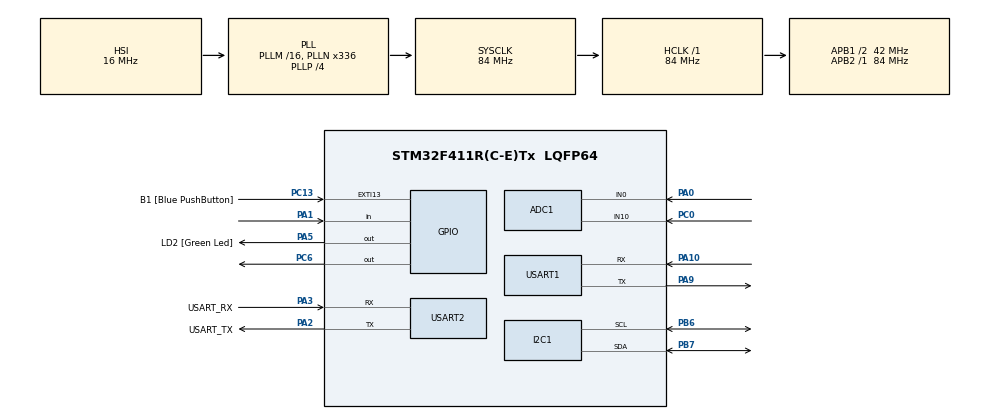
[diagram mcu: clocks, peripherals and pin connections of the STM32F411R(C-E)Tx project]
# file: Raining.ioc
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ADC1.Channel-0\#ChannelRegularConversion=ADC_CHANNEL_0
ADC1.Channel-1\#ChannelRegularConversion=ADC_CHANNEL_10
ADC1.ContinuousConvMode=ENABLE
ADC1.DMAContinuousRequests=ENABLE
ADC1.NbrOfConversion=2
ADC1.NbrOfConversionFlag=1
ADC1.Rank-0\#ChannelRegularConversion=1
ADC1.Rank-1\#ChannelRegularConversion=2
ADC1.SamplingTime-0\#ChannelRegularConversion=ADC_SAMPLETIME_3CYCLES
ADC1.SamplingTime-1\#ChannelRegularConversion=ADC_SAMPLETIME_3CYCLES
ADC1.ScanConvMode=ENABLE
ADC1.master=1
Dma.ADC1.0.Direction=DMA_PERIPH_TO_MEMORY
Dma.ADC1.0.FIFOMode=DMA_FIFOMODE_DISABLE
Dma.ADC1.0.Instance=DMA2_Stream0
Dma.ADC1.0.MemDataAlignment=DMA_MDATAALIGN_WORD
Dma.ADC1.0.MemInc=DMA_MINC_ENABLE
Dma.ADC1.0.Mode=DMA_CIRCULAR
Dma.ADC1.0.PeriphDataAlignment=DMA_PDATAALIGN_WORD
Dma.ADC1.0.PeriphInc=DMA_PINC_DISABLE
Dma.ADC1.0.Priority=DMA_PRIORITY_LOW
Dma.Request0=ADC1
Mcu.Family=STM32F4
Mcu.Name=STM32F411R(C-E)Tx
Mcu.Package=LQFP64
NVIC.DMA2_Stream0_IRQn=true\:0\:0\:false\:false\:true\:false\:true\:true
NVIC.PriorityGroup=NVIC_PRIORITYGROUP_0
PA0-WKUP.Signal=ADCx_IN0
PA1.Signal=GPIO_Input
PA10.Mode=Asynchronous
PA10.Signal=USART1_RX
PA13.GPIO_Label=TMS
PA13.Mode=Serial_Wire
PA13.Signal=SYS_JTMS-SWDIO
PA14.GPIO_Label=TCK
PA14.Mode=Serial_Wire
PA14.Signal=SYS_JTCK-SWCLK
PA2.GPIO_Label=USART_TX
PA2.Mode=Asynchronous
PA2.Signal=USART2_TX
PA3.GPIO_Label=USART_RX
PA3.Mode=Asynchronous
PA3.Signal=USART2_RX
PA5.GPIO_Label=LD2 [Green Led]
PA5.Signal=GPIO_Output
PA9.Mode=Asynchronous
PA9.Signal=USART1_TX
PB3.GPIO_Label=SWO
PB3.Signal=SYS_JTDO-SWO
PB6.Mode=I2C
PB6.Signal=I2C1_SCL
PB7.Mode=I2C
PB7.Signal=I2C1_SDA
PC0.Signal=ADCx_IN10
PC13-ANTI_TAMP.GPIO_Label=B1 [Blue PushButton]
PC13-ANTI_TAMP.GPIO_ModeDefaultEXTI=GPIO_MODE_IT_FALLING
PC13-ANTI_TAMP.Signal=GPXTI13
PC14-OSC32_IN.Mode=LSE-External-Oscillator
PC14-OSC32_IN.Signal=RCC_OSC32_IN
PC15-OSC32_OUT.Mode=LSE-External-Oscillator
PC15-OSC32_OUT.Signal=RCC_OSC32_OUT
PC6.Signal=GPIO_Output
PH0\ -\ OSC_IN.Mode=HSE-External-Clock-Source
PH0\ -\ OSC_IN.Signal=RCC_OSC_IN
PH1\ -\ OSC_OUT.Mode=HSE-External-Clock-Source
PH1\ -\ OSC_OUT.Signal=RCC_OSC_OUT
ProjectManager.HeapSize=0x200
ProjectManager.StackSize=0x400
ProjectManager.TargetToolchain=STM32CubeIDE
RCC.48MHZClocksFreq_Value=84000000
RCC.AHBFreq_Value=84000000
RCC.APB1CLKDivider=RCC_HCLK_DIV2
RCC.APB1Freq_Value=42000000
RCC.APB1TimFreq_Value=84000000
RCC.APB2Freq_Value=84000000
RCC.APB2TimFreq_Value=84000000
RCC.CortexFreq_Value=84000000
RCC.FLatency-AdvancedSettings=FLASH_LATENCY_2
RCC.HCLKFreq_Value=84000000
RCC.HSE_VALUE=8000000
RCC.HSI_VALUE=16000000
RCC.PLLN=336
RCC.PLLP=RCC_PLLP_DIV4
RCC.SYSCLKFreq_VALUE=84000000
RCC.SYSCLKSource=RCC_SYSCLKSOURCE_PLLCLK
RCC.VCOOutputFreq_Value=336000000
SH.ADCx_IN0.0=ADC1_IN0,IN0
SH.ADCx_IN10.0=ADC1_IN10,IN10
USART1.VirtualMode=VM_ASYNC
USART2.VirtualMode=VM_ASYNC
board=NUCLEO-F411RE

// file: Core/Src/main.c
/* USER CODE BEGIN Header */
/**
  ******************************************************************************
  * @file           : main.c
  * @brief          : Main program body
  ******************************************************************************
  * @attention
  *
  * Copyright (c) 2023 STMicroelectronics.
  * All rights reserved.
  *
  * This software is licensed under terms that can be found in the LICENSE file
  * in the root directory of this software component.
  * If no LICENSE file comes with this software, it is provided AS-IS.
  *
  ******************************************************************************
  */
/* USER CODE END Header */
#include "main.h"

/* USER CODE BEGIN Includes */
#include "DHT.h"
/* USER CODE END Includes */

ADC_HandleTypeDef hadc1;
DMA_HandleTypeDef hdma_adc1;

I2C_HandleTypeDef hi2c1;

UART_HandleTypeDef huart1;
UART_HandleTypeDef huart2;

void SystemClock_Config(void);
static void MX_GPIO_Init(void);
static void MX_DMA_Init(void);
static void MX_USART2_UART_Init(void);
static void MX_I2C1_Init(void);
static void MX_ADC1_Init(void);
static void MX_USART1_UART_Init(void);

/* USER CODE BEGIN 0 */
DHT_DataTypedef DHT11_Data;
float Temperature, Humidity;
ADC_HandleTypeDef hadc1;
UART_HandleTypeDef huart2;
uint32_t sensorValue = 0;
uint32_t readValue = 0;
char msg[50];
float percentage;
uint8_t message[50];
uint8_t length;
uint32_t adcValue[2];
long map(long x, long in_min, long in_max, long out_min, long out_max) {
  long res = (x - in_min) * (out_max - out_min) / (in_max - in_min) + out_min;
  return x < in_min ? 0: x > in_max ? 100: res;
}
/* USER CODE END 0 */

int main(void)
{

  /* MCU Configuration--------------------------------------------------------*/

  /* Reset of all peripherals, Initializes the Flash interface and the Systick. */
  HAL_Init();

  /* Configure the system clock */
  SystemClock_Config();

  /* Initialize all configured peripherals */
  MX_GPIO_Init();
  MX_DMA_Init();
  MX_USART2_UART_Init();
  MX_I2C1_Init();
  MX_ADC1_Init();
  MX_USART1_UART_Init();
  /* USER CODE BEGIN 2 */
  HAL_GPIO_WritePin(GPIOC, GPIO_PIN_6, GPIO_PIN_SET);
  HAL_ADC_Start_DMA(&hadc1, adcValue, 2);
    HAL_NVIC_DisableIRQ(DMA2_Stream0_IRQn);
  /* USER CODE END 2 */

  /* Infinite loop */
  /* USER CODE BEGIN WHILE */
  while (1)
  {
	  char data[100];
	      readValue = adcValue[0];
	      DHT_GetData(&DHT11_Data);
	      Temperature = DHT11_Data.Temperature;
	      Humidity = DHT11_Data.Humidity;

	      char buffer[50];
	      sprintf(buffer, "Temp: %f\r\nHumid: %f\r\n", Temperature, Humidity);
	      HAL_UART_Transmit(&huart2, buffer, strlen(buffer), HAL_MAX_DELAY);

	      char buffer1[50];
	      sprintf(buffer1, "%d\r\n", readValue);
	      HAL_UART_Transmit(&huart2, buffer1, strlen(buffer1), HAL_MAX_DELAY);

	      sensorValue = adcValue[1];
	      sprintf(msg, "%d%%\r\n", map(sensorValue, 600, 2100, 0, 100));
	      HAL_UART_Transmit(&huart2, (uint8_t*)msg, strlen(msg), HAL_MAX_DELAY);

	      int Temperature = (int)DHT11_Data.Temperature;
	      int Humidity = (int)DHT11_Data.Humidity;
	      int readValue1 = (int)readValue;
	      int sensorValue1 = (int)sensorValue;

	      sprintf(data, "T%dH%dS%dR%dE\r\n", Temperature, Humidity, readValue1, sensorValue1);
	      HAL_UART_Transmit(&huart1, (uint8_t *)data, strlen(data), HAL_MAX_DELAY);
	      HAL_UART_Transmit(&huart2, (uint8_t *)data, strlen(data), HAL_MAX_DELAY);

	      HAL_Delay(1000);

    /* USER CODE END WHILE */

  }
}

void SystemClock_Config(void)
{
  RCC_OscInitTypeDef RCC_OscInitStruct = {0};
  RCC_ClkInitTypeDef RCC_ClkInitStruct = {0};

  /** Configure the main internal regulator output voltage
  */
  __HAL_RCC_PWR_CLK_ENABLE();
  __HAL_PWR_VOLTAGESCALING_CONFIG(PWR_REGULATOR_VOLTAGE_SCALE1);

  /** Initializes the RCC Oscillators according to the specified parameters
  * in the RCC_OscInitTypeDef structure.
  */
  RCC_OscInitStruct.OscillatorType = RCC_OSCILLATORTYPE_HSI;
  RCC_OscInitStruct.HSIState = RCC_HSI_ON;
  RCC_OscInitStruct.HSICalibrationValue = RCC_HSICALIBRATION_DEFAULT;
  RCC_OscInitStruct.PLL.PLLState = RCC_PLL_ON;
  RCC_OscInitStruct.PLL.PLLSource = RCC_PLLSOURCE_HSI;
  RCC_OscInitStruct.PLL.PLLM = 16;
  RCC_OscInitStruct.PLL.PLLN = 336;
  RCC_OscInitStruct.PLL.PLLP = RCC_PLLP_DIV4;
  RCC_OscInitStruct.PLL.PLLQ = 4;
  if (HAL_RCC_OscConfig(&RCC_OscInitStruct) != HAL_OK)
  {
    Error_Handler();
  }

  /** Initializes the CPU, AHB and APB buses clocks
  */
  RCC_ClkInitStruct.ClockType = RCC_CLOCKTYPE_HCLK|RCC_CLOCKTYPE_SYSCLK
                              |RCC_CLOCKTYPE_PCLK1|RCC_CLOCKTYPE_PCLK2;
  RCC_ClkInitStruct.SYSCLKSource = RCC_SYSCLKSOURCE_PLLCLK;
  RCC_ClkInitStruct.AHBCLKDivider = RCC_SYSCLK_DIV1;
  RCC_ClkInitStruct.APB1CLKDivider = RCC_HCLK_DIV2;
  RCC_ClkInitStruct.APB2CLKDivider = RCC_HCLK_DIV1;

  if (HAL_RCC_ClockConfig(&RCC_ClkInitStruct, FLASH_LATENCY_2) != HAL_OK)
  {
    Error_Handler();
  }
}

static void MX_ADC1_Init(void)
{

  ADC_ChannelConfTypeDef sConfig = {0};

  /** Configure the global features of the ADC (Clock, Resolution, Data Alignment and number of conversion)
  */
  hadc1.Instance = ADC1;
  hadc1.Init.ClockPrescaler = ADC_CLOCK_SYNC_PCLK_DIV4;
  hadc1.Init.Resolution = ADC_RESOLUTION_12B;
  hadc1.Init.ScanConvMode = ENABLE;
  hadc1.Init.ContinuousConvMode = ENABLE;
  hadc1.Init.DiscontinuousConvMode = DISABLE;
  hadc1.Init.ExternalTrigConvEdge = ADC_EXTERNALTRIGCONVEDGE_NONE;
  hadc1.Init.ExternalTrigConv = ADC_SOFTWARE_START;
  hadc1.Init.DataAlign = ADC_DATAALIGN_RIGHT;
  hadc1.Init.NbrOfConversion = 2;
  hadc1.Init.DMAContinuousRequests = ENABLE;
  hadc1.Init.EOCSelection = ADC_EOC_SINGLE_CONV;
  if (HAL_ADC_Init(&hadc1) != HAL_OK)
  {
    Error_Handler();
  }

  /** Configure for the selected ADC regular channel its corresponding rank in the sequencer and its sample time.
  */
  sConfig.Channel = ADC_CHANNEL_0;
  sConfig.Rank = 1;
  sConfig.SamplingTime = ADC_SAMPLETIME_3CYCLES;
  if (HAL_ADC_ConfigChannel(&hadc1, &sConfig) != HAL_OK)
  {
    Error_Handler();
  }

  /** Configure for the selected ADC regular channel its corresponding rank in the sequencer and its sample time.
  */
  sConfig.Channel = ADC_CHANNEL_10;
  sConfig.Rank = 2;
  if (HAL_ADC_ConfigChannel(&hadc1, &sConfig) != HAL_OK)
  {
    Error_Handler();
  }

}

static void MX_I2C1_Init(void)
{

  hi2c1.Instance = I2C1;
  hi2c1.Init.ClockSpeed = 100000;
  hi2c1.Init.DutyCycle = I2C_DUTYCYCLE_2;
  hi2c1.Init.OwnAddress1 = 0;
  hi2c1.Init.AddressingMode = I2C_ADDRESSINGMODE_7BIT;
  hi2c1.Init.DualAddressMode = I2C_DUALADDRESS_DISABLE;
  hi2c1.Init.OwnAddress2 = 0;
  hi2c1.Init.GeneralCallMode = I2C_GENERALCALL_DISABLE;
  hi2c1.Init.NoStretchMode = I2C_NOSTRETCH_DISABLE;
  if (HAL_I2C_Init(&hi2c1) != HAL_OK)
  {
    Error_Handler();
  }

}

static void MX_USART1_UART_Init(void)
{

  huart1.Instance = USART1;
  huart1.Init.BaudRate = 115200;
  huart1.Init.WordLength = UART_WORDLENGTH_8B;
  huart1.Init.StopBits = UART_STOPBITS_1;
  huart1.Init.Parity = UART_PARITY_NONE;
  huart1.Init.Mode = UART_MODE_TX_RX;
  huart1.Init.HwFlowCtl = UART_HWCONTROL_NONE;
  huart1.Init.OverSampling = UART_OVERSAMPLING_16;
  if (HAL_UART_Init(&huart1) != HAL_OK)
  {
    Error_Handler();
  }

}

static void MX_USART2_UART_Init(void)
{

  huart2.Instance = USART2;
  huart2.Init.BaudRate = 115200;
  huart2.Init.WordLength = UART_WORDLENGTH_8B;
  huart2.Init.StopBits = UART_STOPBITS_1;
  huart2.Init.Parity = UART_PARITY_NONE;
  huart2.Init.Mode = UART_MODE_TX_RX;
  huart2.Init.HwFlowCtl = UART_HWCONTROL_NONE;
  huart2.Init.OverSampling = UART_OVERSAMPLING_16;
  if (HAL_UART_Init(&huart2) != HAL_OK)
  {
    Error_Handler();
  }

}

static void MX_DMA_Init(void)
{

  /* DMA controller clock enable */
  __HAL_RCC_DMA2_CLK_ENABLE();

  /* DMA interrupt init */
  /* DMA2_Stream0_IRQn interrupt configuration */
  HAL_NVIC_SetPriority(DMA2_Stream0_IRQn, 0, 0);
  HAL_NVIC_EnableIRQ(DMA2_Stream0_IRQn);

}

static void MX_GPIO_Init(void)
{
  GPIO_InitTypeDef GPIO_InitStruct = {0};

  /* GPIO Ports Clock Enable */
  __HAL_RCC_GPIOC_CLK_ENABLE();
  __HAL_RCC_GPIOH_CLK_ENABLE();
  __HAL_RCC_GPIOA_CLK_ENABLE();
  __HAL_RCC_GPIOB_CLK_ENABLE();

  /*Configure GPIO pin Output Level */
  HAL_GPIO_WritePin(LD2_GPIO_Port, LD2_Pin, GPIO_PIN_RESET);

  /*Configure GPIO pin Output Level */
  HAL_GPIO_WritePin(GPIOC, GPIO_PIN_6, GPIO_PIN_RESET);

  /*Configure GPIO pin : B1_Pin */
  GPIO_InitStruct.Pin = B1_Pin;
  GPIO_InitStruct.Mode = GPIO_MODE_IT_FALLING;
  GPIO_InitStruct.Pull = GPIO_NOPULL;
  HAL_GPIO_Init(B1_GPIO_Port, &GPIO_InitStruct);

  /*Configure GPIO pin : PA1 */
  GPIO_InitStruct.Pin = GPIO_PIN_1;
  GPIO_InitStruct.Mode = GPIO_MODE_INPUT;
  GPIO_InitStruct.Pull = GPIO_NOPULL;
  HAL_GPIO_Init(GPIOA, &GPIO_InitStruct);

  /*Configure GPIO pin : LD2_Pin */
  GPIO_InitStruct.Pin = LD2_Pin;
  GPIO_InitStruct.Mode = GPIO_MODE_OUTPUT_PP;
  GPIO_InitStruct.Pull = GPIO_NOPULL;
  GPIO_InitStruct.Speed = GPIO_SPEED_FREQ_LOW;
  HAL_GPIO_Init(LD2_GPIO_Port, &GPIO_InitStruct);

  /*Configure GPIO pin : PC6 */
  GPIO_InitStruct.Pin = GPIO_PIN_6;
  GPIO_InitStruct.Mode = GPIO_MODE_OUTPUT_PP;
  GPIO_InitStruct.Pull = GPIO_NOPULL;
  GPIO_InitStruct.Speed = GPIO_SPEED_FREQ_LOW;
  HAL_GPIO_Init(GPIOC, &GPIO_InitStruct);

}

void Error_Handler(void)
{
  __disable_irq();
  while (1)
  {
  }
}
